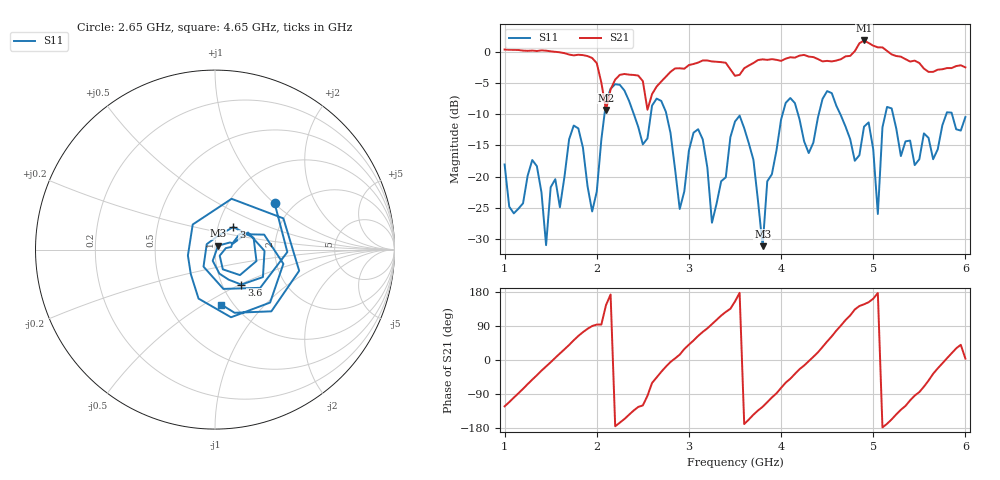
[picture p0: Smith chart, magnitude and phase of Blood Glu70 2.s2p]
! NanoVNA-App
! Date: 2024-03-20 22:10:10
! Start: 1GHz Stop: 6GHz Points: 101
! S-Parameter data: F S11 S21 S12 S22
# Hz S RI R 50
!	Frequency	S11_Real	S11_Imag	S21_Real	S21_Imag	S12_Real	S12_Imag	S22_Real	S22_Imag
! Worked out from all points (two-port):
!   101 points, 1 GHz to 6 GHz, reference 50 ohm
!   highest |S21| = 1.79 dB at 4.9 GHz (marker M1); lowest = -9.3 dB at 2.1 GHz (marker M2)
!   |S21| within 3 dB of the highest: start of sweep to 1.962 GHz; 4.648 GHz to 5.351 GHz (702.7 MHz wide, 14.1 % of centre) (the widest 2 of 4)
!   lowest |S11| = -31.1 dB at 3.8 GHz (marker M3), VSWR 1.06, Z = 51.7 + j2.26 ohm
!   |S11| at or under -10 dB: start of sweep to 2.084 GHz; 2.755 GHz to 4.016 GHz (1.261 GHz wide, 37.2 % of centre); 5.214 GHz to 5.793 GHz (578.7 MHz wide, 10.5 % of centre) (the widest 3 of 7)
!   S12 and S22 are empty: the file has one direction only
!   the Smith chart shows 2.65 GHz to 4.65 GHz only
!   S11 on the Smith chart (normalised r, x): 2.65 GHz: 1.60, +1.01; 3 GHz: 1.18, +0.31; 3.6 GHz: 1.23, -0.51; 4.65 GHz: 0.88, -0.60
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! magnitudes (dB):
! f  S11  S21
! 1 GHz  -18.0  0.3
! 1.35 GHz  -18.3  0.1
! 1.45 GHz  -30.9  0.2
! 1.85 GHz  -15.4  -0.6
! 1.95 GHz  -25.6  -1.0
! 2.1 GHz  -8.1  -9.3
! 2.65 GHz  -7.5  -5.6
! 2.7 GHz  -7.9  -4.8
! 2.9 GHz  -25.2  -2.7
! 3 GHz  -15.8  -2.1
! 3.15 GHz  -14.0  -1.4
! 3.25 GHz  -27.4  -1.6
! 3.5 GHz  -11.2  -3.9
! 3.6 GHz  -12.2  -2.7
! 3.8 GHz  -31.1  -1.2
! 4.05 GHz  -8.2  -1.1
! 4.35 GHz  -14.6  -0.9
! 4.65 GHz  -10.2  -1.2
! 4.9 GHz  -12.0  1.8
! 5.05 GHz  -26.0  0.7
! 5.2 GHz  -9.1  -0.4
! 6 GHz  -10.5  -2.5
